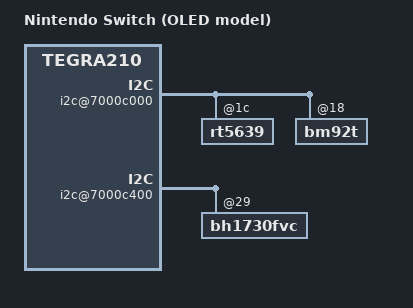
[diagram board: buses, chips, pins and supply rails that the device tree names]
/*
 * Copyright (c) 2022, CTCaer <ctcaer@gmail.com>
 *
 * This program is free software; you can redistribute it and/or modify
 * it under the terms of the GNU General Public License as published by
 * the Free Software Foundation; version 2 of the License.
 *
 * This program is distributed in the hope that it will be useful, but WITHOUT
 * ANY WARRANTY; without even the implied warranty of MERCHANTABILITY or
 * FITNESS FOR A PARTICULAR PURPOSE.  See the GNU General Public License for
 * more details.
 *
 */

#include "nx-platforms/tegra210b01-nx-common.dtsi"
#include "nx-platforms/tegra210b01-fric-gpio.dtsi"
#include "nx-platforms/tegra210b01-fric-pinmux.dtsi"
#include "nx-platforms/tegra210-nx-common-disp.dtsi"
#include "nx-platforms/tegra210b01-fric-power-tree.dtsi"
#include "nx-platforms/tegra210-nx-sensor.dtsi"

/ {
	nvidia,dtsfilename = __FILE__;
	nvidia,dtbbuildtime = __DATE__, __TIME__;

	model = "Nintendo Switch (OLED model)";
	compatible = "nvidia,fric", "nintendo,aula", "nintendo,nx", "nvidia,tegra210b01";

	backlight {
		status = "disabled";
		panel-o-720p-6-0-bl {
			status = "disabled";
		};
	};

	i2c@7000c000 {
		rt5639: rt5639@1c {
			realtek,eq-config-type = <2>;
		};
		bm92t: bm92t@18 {
			rohm,dp-lanes = <4>;
		};
	};

	host1x {
		dsi {
			nvidia,active-panel = <&panel_s_720p_7_0>;
			prod-settings {
				#prod-cells = <3>;
				dsi-padctrl-prod {
					prod = <
						0x00000148 0x000fffff 0x00077777	/* PAD_CONTROL_4 */
						0x0000014c 0x000fffff 0x00077777	/* PAD_CONTROL_5 */
						0x00000150 0x00003333 0x00001111	/* PAD_CONTROL_6 */
						>;
				};
			};
		};
		sor1 {
			dp-display {
				nvidia,lanes = <4>;

				lt-data {
					tegra-dp-vs-regs {
						/* postcursor2 L0 */
						pc2_l0 = <
							/* pre-emphasis: L0, L1, L2, L3 */
							0x13 0x19 0x1e 0x28 /* voltage swing: L0 */
							0x1e 0x25 0x2d /* L1 */
							0x28 0x32 /* L2 */
							0x39 /* L3 */
						>;
						/* postcursor2 L1 */
						pc2_l1 = <
							0x12 0x17 0x1b 0x25
							0x1c 0x23 0x2a
							0x25 0x2f
							0x37
						>;
						/* postcursor2 L2 */
						pc2_l2 = <
							0x12 0x16 0x1a 0x22
							0x1b 0x20 0x27
							0x24 0x2d
							0x35
						>;
					};
				};
			};
		};
	};

	i2c@7000c400 {
		bh1730fvc@29 {
			rohm,opt-win-coeff = < 231 9697 7502
					       993 3333 2778
					      1478 1621 1053
					      7500   81   10>;

			rohm,gain-coeff = < 2500     0
					    1600  7800
					      10 50000
					       0  1000>;
		};
	};

	thermal_fan_est_shared_data: tfesd {
		dev1 {
			/* Fric SoC Console */
			coeffs_mode0 = <7831 57590>;

			/* Fric SoC Handheld */
			coeffs_mode1 = <9029 4274>;
		};

		dev2 {
			/* Fric PCB Console */
			coeffs_mode0 = <8051 0xFFFF4F63>;

			/* Fric PCB Handheld */
			coeffs_mode1 = <7176 0xFFFF7B5E>;
		};
	};

	thermal-fan-est {
		profiles {
			Console {
				active_trip_temps = <
					0 36000 40000 43000 49000 53000
					70000 80000 90000 100000>; /* Unused */
				active_hysteresis = <0 0 3900 2900 0 0 0 0 0 0>;
			};
			Handheld {
				active_trip_temps = <
					0 36000 40000 43000 44000 45000 46500
					80000 90000 100000>; /* Unused */
				active_hysteresis = <0 0 3900 2900 0 0 1000 0 0 0>;
			};
			/* Uses Handheld tskin coeffs and Console fan duties */
			Cool {
				active_trip_temps = <
					0 30000 36000 40000 43000 49000
					70000 80000 90000 100000>; /* Unused */
				active_hysteresis = <0 0 0 0 0 0 0 0 0 0>;
			};
		};
	};

	pwm-fan {
		profiles {
			Console {
				active_pwm = <0 0 51 51 128 255 255 255 255 255>;
			};
			Handheld {
				active_pwm = <0 0 51 51 76 128 255 255 255 255>;
			};
			Cool {
				active_pwm = <0 0 51 51 128 255 255 255 255 255>;
			};
		};
	};
};
